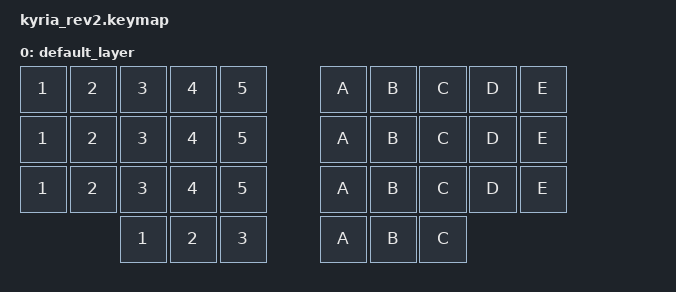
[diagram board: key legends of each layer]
#include <behaviors.dtsi>
#include <dt-bindings/zmk/keys.h>
#include <dt-bindings/zmk/bt.h>

/ {
        keymap {
                compatible = "zmk,keymap";

                default_layer {
                        bindings = <
   &kp N1   &kp N2 &kp N3 &kp N4 &kp N5       &kp A   &kp B &kp C &kp D &kp E
   &kp N1   &kp N2 &kp N3 &kp N4 &kp N5       &kp A   &kp B &kp C &kp D &kp E
   &kp N1   &kp N2 &kp N3 &kp N4 &kp N5       &kp A   &kp B &kp C &kp D &kp E
        &kp N1   &kp N2 &kp N3                     &kp A   &kp B &kp C
                        >;
                };
        };        
};
